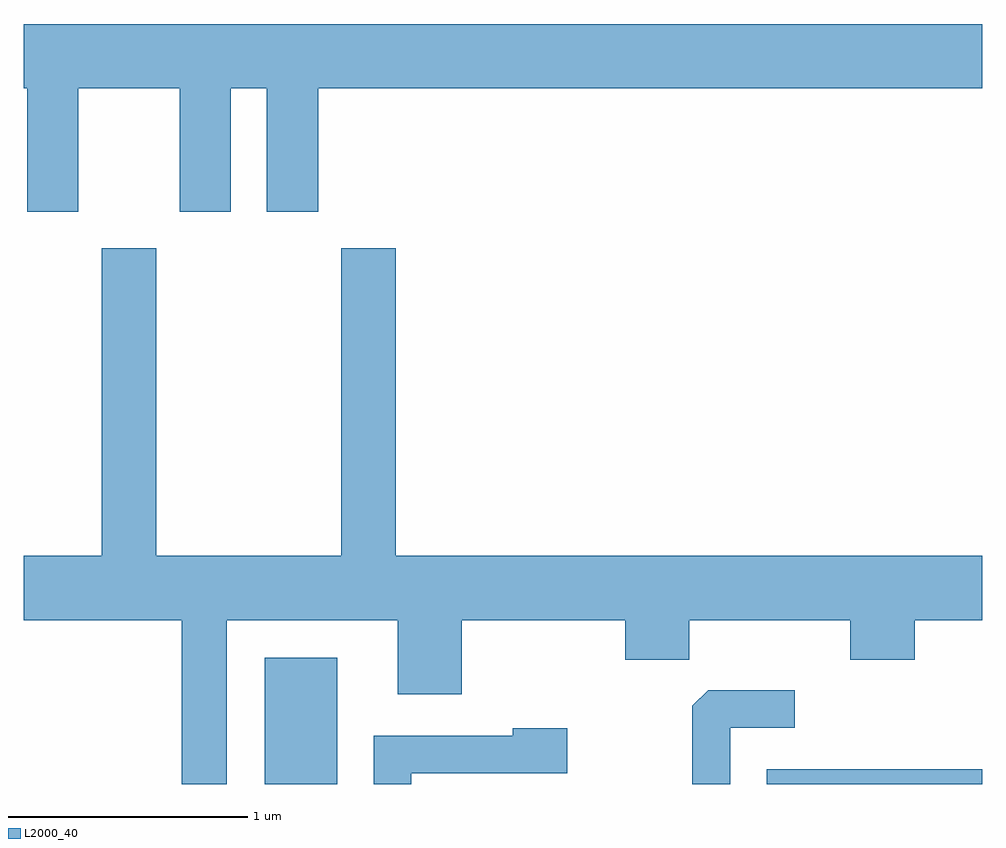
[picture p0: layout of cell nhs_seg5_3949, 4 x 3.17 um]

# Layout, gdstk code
import gdstk
lib = gdstk.Library(unit=1e-6, precision=1e-09)
def R(c, l, rs):  # rectangles x0, y0, x1, y1
    for r in rs: c.add(gdstk.rectangle(r[:2], r[2:], *l))
def P(c, l, *ps):  # polygons
    for p in ps: c.add(gdstk.Polygon(p, *l))
L2000_40 = (2000, 40)

nhs_seg5_3949 = lib.new_cell('nhs_seg5_3949')
R(nhs_seg5_3949, L2000_40, [(302.616,1496.072,302.919,1496.599), (304.711,1496.072,305.611,1496.134)])
P(nhs_seg5_3949, L2000_40, [(301.839,1498.976),(302.261,1498.976),(302.261,1498.461),(302.474,1498.461),(302.474,1498.976),(302.626,1498.976),(302.626,1498.461),(302.839,1498.461),(302.839,1498.976),(305.611,1498.976),(305.611,1499.244),(301.611,1499.244),(301.611,1498.976),(301.626,1498.976),(301.626,1498.461),(301.839,1498.461)],
  [(302.459,1496.756),(303.171,1496.756),(303.171,1496.446),(303.439,1496.446),(303.439,1496.756),(304.121,1496.756),(304.121,1496.591),(304.389,1496.591),(304.389,1496.756),(305.061,1496.756),(305.061,1496.591),(305.329,1496.591),(305.329,1496.756),(305.611,1496.756),(305.611,1497.024),(303.164,1497.024),(303.164,1498.309),(302.936,1498.309),(302.936,1497.024),(302.164,1497.024),(302.164,1498.309),(301.936,1498.309),(301.936,1497.024),(301.611,1497.024),(301.611,1496.756),(302.271,1496.756),(302.271,1496.072),(302.459,1496.072)],
  [(304.559,1496.306),(304.828,1496.306),(304.828,1496.464),(304.467,1496.464),(304.401,1496.399),(304.401,1496.072),(304.559,1496.072)],
  [(303.229,1496.116),(303.879,1496.116),(303.879,1496.304),(303.651,1496.304),(303.651,1496.274),(303.071,1496.274),(303.071,1496.072),(303.229,1496.072)])

lib.write_gds('nhs_seg5_3949.gds')
